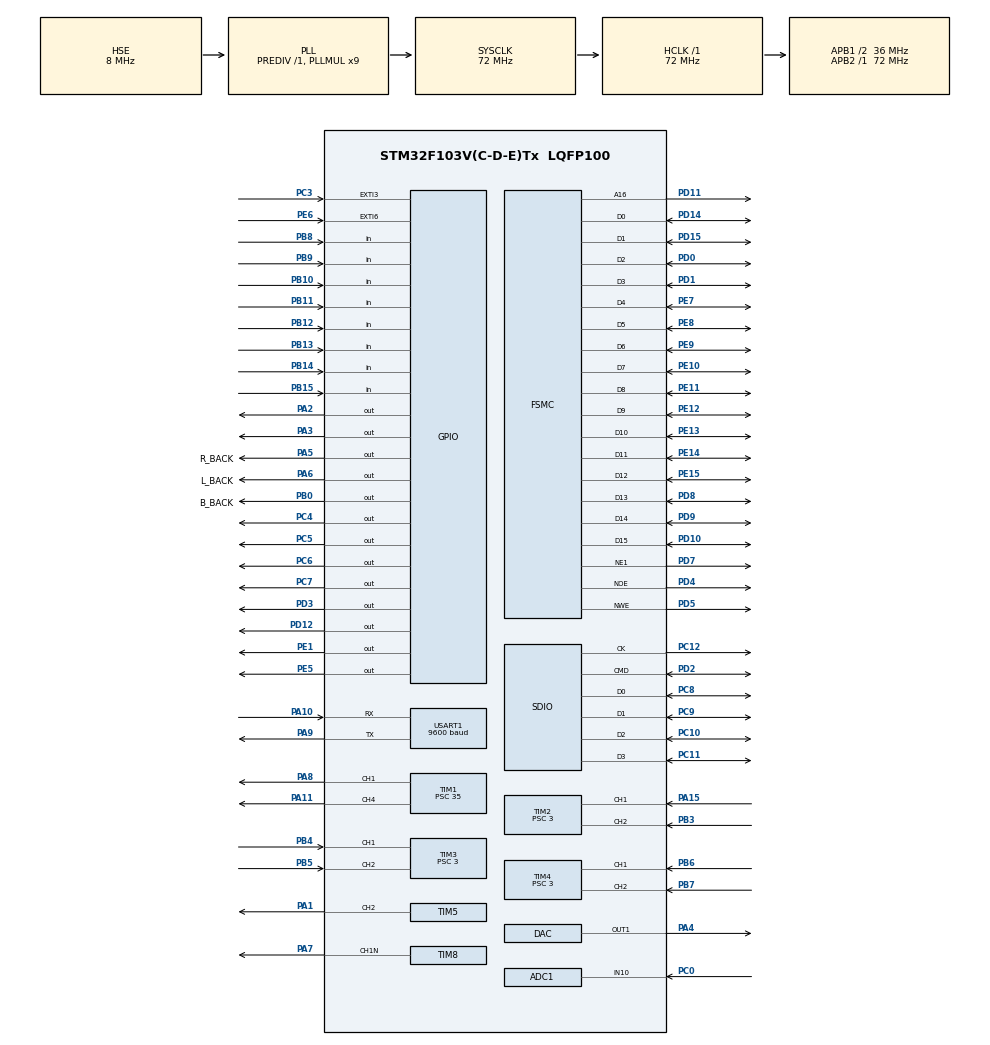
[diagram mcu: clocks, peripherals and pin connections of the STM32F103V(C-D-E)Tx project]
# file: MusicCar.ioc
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ADC1.Channel-4\#ChannelRegularConversion=ADC_CHANNEL_10
ADC1.NbrOfConversionFlag=1
ADC1.Rank-4\#ChannelRegularConversion=1
ADC1.SamplingTime-4\#ChannelRegularConversion=ADC_SAMPLETIME_1CYCLE_5
ADC1.master=1
Dma.Request0=SDIO
Dma.SDIO.0.Direction=DMA_MEMORY_TO_PERIPH
Dma.SDIO.0.Instance=DMA2_Channel4
Dma.SDIO.0.MemDataAlignment=DMA_MDATAALIGN_WORD
Dma.SDIO.0.MemInc=DMA_MINC_ENABLE
Dma.SDIO.0.Mode=DMA_CIRCULAR
Dma.SDIO.0.PeriphDataAlignment=DMA_PDATAALIGN_WORD
Dma.SDIO.0.PeriphInc=DMA_PINC_DISABLE
Dma.SDIO.0.Priority=DMA_PRIORITY_HIGH
FATFS._MAX_SS=4096
FREERTOS.Tasks01=defaultTask,0,128,StartDefaultTask,Default,NULL,Dynamic,NULL,NULL
FREERTOS.configCHECK_FOR_STACK_OVERFLOW=2
FREERTOS.configTOTAL_HEAP_SIZE=40704
FREERTOS.configUSE_MALLOC_FAILED_HOOK=1
Mcu.Family=STM32F1
Mcu.Name=STM32F103V(C-D-E)Tx
Mcu.Package=LQFP100
NVIC.DMA2_Channel4_5_IRQn=true\:6\:0\:true\:false\:true\:true\:false\:true
NVIC.EXTI3_IRQn=true\:5\:0\:true\:false\:true\:true\:true\:true
NVIC.EXTI9_5_IRQn=true\:5\:0\:true\:false\:true\:true\:true\:true
NVIC.PriorityGroup=NVIC_PRIORITYGROUP_4
NVIC.SDIO_IRQn=true\:5\:0\:false\:false\:true\:true\:true\:true
NVIC.TIM2_IRQn=true\:5\:0\:true\:false\:true\:true\:true\:true
NVIC.TIM3_IRQn=true\:5\:0\:false\:false\:true\:true\:true\:true
NVIC.TIM4_IRQn=true\:5\:0\:true\:false\:true\:true\:true\:true
NVIC.TIM6_IRQn=true\:0\:0\:false\:false\:true\:false\:false\:true
NVIC.TIM7_IRQn=true\:5\:0\:false\:false\:true\:true\:true\:true
NVIC.TimeBase=TIM6_IRQn
NVIC.TimeBaseIP=TIM6
NVIC.USART1_IRQn=true\:5\:0\:false\:false\:true\:true\:true\:true
OSC_IN.Mode=HSE-External-Oscillator
OSC_IN.Signal=RCC_OSC_IN
OSC_OUT.Mode=HSE-External-Oscillator
OSC_OUT.Signal=RCC_OSC_OUT
PA1.Signal=S_TIM5_CH2
PA10.Mode=Asynchronous
PA10.Signal=USART1_RX
PA11.Signal=S_TIM1_CH4
PA13.Mode=Serial_Wire
PA13.Signal=SYS_JTMS-SWDIO
PA14.Mode=Serial_Wire
PA14.Signal=SYS_JTCK-SWCLK
PA15.GPIO_PuPd=GPIO_NOPULL
PA15.Signal=S_TIM2_CH1_ETR
PA2.GPIO_Speed=GPIO_SPEED_FREQ_HIGH
PA2.Signal=GPIO_Output
PA3.GPIO_Speed=GPIO_SPEED_FREQ_HIGH
PA3.Signal=GPIO_Output
PA4.Signal=COMP_DAC1_group
PA5.GPIO_Label=R_BACK
PA5.Signal=GPIO_Output
PA6.GPIO_Label=L_BACK
PA6.Signal=GPIO_Output
PA7.Mode=PWM Generation1 CH1N
PA7.Signal=TIM8_CH1N
PA8.Signal=S_TIM1_CH1
PA9.Mode=Asynchronous
PA9.Signal=USART1_TX
PB0.GPIO_Label=B_BACK
PB0.Signal=GPIO_Output
PB10.Signal=GPIO_Input
PB11.Signal=GPIO_Input
PB12.Signal=GPIO_Input
PB13.Signal=GPIO_Input
PB14.Signal=GPIO_Input
PB15.Signal=GPIO_Input
PB3.Signal=S_TIM2_CH2
PB4.GPIO_PuPd=GPIO_NOPULL
PB4.Signal=S_TIM3_CH1
PB5.GPIO_PuPd=GPIO_NOPULL
PB5.Signal=S_TIM3_CH2
PB6.Signal=S_TIM4_CH1
PB7.Signal=S_TIM4_CH2
PB8.Signal=GPIO_Input
PB9.Signal=GPIO_Input
PC0.Signal=ADCx_IN10
PC10.Mode=SD_4_bits_Wide_bus
PC10.Signal=SDIO_D2
PC11.Mode=SD_4_bits_Wide_bus
PC11.Signal=SDIO_D3
PC12.Mode=SD_4_bits_Wide_bus
PC12.Signal=SDIO_CK
PC14-OSC32_IN.Mode=LSE-External-Oscillator
PC14-OSC32_IN.Signal=RCC_OSC32_IN
PC15-OSC32_OUT.Mode=LSE-External-Oscillator
PC15-OSC32_OUT.Signal=RCC_OSC32_OUT
PC3.GPIO_ModeDefaultEXTI=GPIO_MODE_IT_FALLING
PC3.Signal=GPXTI3
PC4.GPIO_Speed=GPIO_SPEED_FREQ_HIGH
PC4.Signal=GPIO_Output
PC5.GPIO_Speed=GPIO_SPEED_FREQ_HIGH
PC5.Signal=GPIO_Output
PC6.GPIO_ModeDefaultOutputPP=GPIO_MODE_OUTPUT_OD
PC6.GPIO_PuPd=GPIO_PULLDOWN
PC6.GPIO_Speed=GPIO_SPEED_FREQ_HIGH
PC6.Signal=GPIO_Output
PC7.GPIO_ModeDefaultOutputPP=GPIO_MODE_OUTPUT_OD
PC7.GPIO_Speed=GPIO_SPEED_FREQ_HIGH
PC7.Signal=GPIO_Output
PC8.Mode=SD_4_bits_Wide_bus
PC8.Signal=SDIO_D0
PC9.Mode=SD_4_bits_Wide_bus
PC9.Signal=SDIO_D1
PD0.Mode=16b-d1
PD0.Signal=FSMC_D2
PD1.Mode=16b-d1
PD1.Signal=FSMC_D3
PD10.Mode=16b-d1
PD10.Signal=FSMC_D15
PD11.Mode=A16_1
PD11.Signal=FSMC_A16
PD12.GPIO_Speed=GPIO_SPEED_FREQ_HIGH
PD12.PinState=GPIO_PIN_RESET
PD12.Signal=GPIO_Output
PD14.Mode=16b-d1
PD14.Signal=FSMC_D0
PD15.Mode=16b-d1
PD15.Signal=FSMC_D1
PD2.Mode=SD_4_bits_Wide_bus
PD2.Signal=SDIO_CMD
PD3.GPIO_Speed=GPIO_SPEED_FREQ_HIGH
PD3.Signal=GPIO_Output
PD4.Mode=Lcd1
PD4.Signal=FSMC_NOE
PD5.Mode=Lcd1
PD5.Signal=FSMC_NWE
PD7.Mode=NorPsramChipSelect1_1
PD7.Signal=FSMC_NE1
PD8.Mode=16b-d1
PD8.Signal=FSMC_D13
PD9.Mode=16b-d1
PD9.Signal=FSMC_D14
PE1.GPIO_Speed=GPIO_SPEED_FREQ_HIGH
PE1.PinState=GPIO_PIN_RESET
PE1.Signal=GPIO_Output
PE10.Mode=16b-d1
PE10.Signal=FSMC_D7
PE11.Mode=16b-d1
PE11.Signal=FSMC_D8
PE12.Mode=16b-d1
PE12.Signal=FSMC_D9
PE13.Mode=16b-d1
PE13.Signal=FSMC_D10
PE14.Mode=16b-d1
PE14.Signal=FSMC_D11
PE15.Mode=16b-d1
PE15.Signal=FSMC_D12
PE5.Signal=GPIO_Output
PE6.GPIO_ModeDefaultEXTI=GPIO_MODE_IT_RISING_FALLING
PE6.Signal=GPXTI6
PE7.Mode=16b-d1
PE7.Signal=FSMC_D4
PE8.Mode=16b-d1
PE8.Signal=FSMC_D5
PE9.Mode=16b-d1
PE9.Signal=FSMC_D6
ProjectManager.HeapSize=0x200
ProjectManager.StackSize=0x400
ProjectManager.TargetToolchain=MDK-ARM V5
RCC.ADCPresc=RCC_ADCPCLK2_DIV6
RCC.AHBFreq_Value=72000000
RCC.APB1CLKDivider=RCC_HCLK_DIV2
RCC.APB1Freq_Value=36000000
RCC.APB1TimFreq_Value=72000000
RCC.APB2Freq_Value=72000000
RCC.APB2TimFreq_Value=72000000
RCC.HCLKFreq_Value=72000000
RCC.PLLMUL=RCC_PLL_MUL9
RCC.PLLSourceVirtual=RCC_PLLSOURCE_HSE
RCC.SYSCLKFreq_VALUE=72000000
RCC.SYSCLKSource=RCC_SYSCLKSOURCE_PLLCLK
RCC.USBFreq_Value=72000000
SDIO.ClockDiv=2
SDIO.HardwareFlowControl=SDIO_HARDWARE_FLOW_CONTROL_ENABLE
SH.ADCx_IN10.0=ADC1_IN10,IN10
SH.COMP_DAC1_group.0=DAC_OUT1,DAC_OUT1
SH.S_TIM1_CH1.0=TIM1_CH1,PWM Generation1 CH1
SH.S_TIM1_CH4.0=TIM1_CH4,PWM Generation4 CH4
SH.S_TIM2_CH1_ETR.0=TIM2_CH1,Encoder_Interface
SH.S_TIM2_CH2.0=TIM2_CH2,Encoder_Interface
SH.S_TIM3_CH1.0=TIM3_CH1,Encoder_Interface
SH.S_TIM3_CH2.0=TIM3_CH2,Encoder_Interface
SH.S_TIM4_CH1.0=TIM4_CH1,Encoder_Interface
SH.S_TIM4_CH2.0=TIM4_CH2,Encoder_Interface
SH.S_TIM5_CH2.0=TIM5_CH2,PWM Generation2 CH2
TIM1.Channel-PWM\ Generation1\ CH1=TIM_CHANNEL_1
TIM1.Channel-PWM\ Generation4\ CH4=TIM_CHANNEL_4
TIM1.Period=0x7fff
TIM1.Prescaler=35
TIM2.EncoderMode=TIM_ENCODERMODE_TI12
TIM2.IC1Filter=15
TIM2.IC1Prescaler=TIM_ICPSC_DIV8
TIM2.IC2Filter=15
TIM2.IC2Prescaler=TIM_ICPSC_DIV8
TIM2.Period=0xffff
TIM2.Prescaler=3
TIM3.EncoderMode=TIM_ENCODERMODE_TI12
TIM3.IC1Filter=15
TIM3.IC1Prescaler=TIM_ICPSC_DIV8
TIM3.IC2Filter=15
TIM3.IC2Prescaler=TIM_ICPSC_DIV8
TIM3.Period=0xffff
TIM3.Prescaler=3
TIM4.EncoderMode=TIM_ENCODERMODE_TI12
TIM4.IC1Filter=15
TIM4.IC1Prescaler=TIM_ICPSC_DIV8
TIM4.IC2Filter=15
TIM4.IC2Prescaler=TIM_ICPSC_DIV8
TIM4.Period=0xffff
TIM4.Prescaler=3
TIM5.Channel-PWM\ Generation2\ CH2=TIM_CHANNEL_2
TIM5.Period=0x7fff
TIM5.Prescaler=35
TIM7.Period=1632
TIM8.Channel-PWM\ Generation1\ CH1N=TIM_CHANNEL_1
TIM8.Period=20000
TIM8.Prescaler=71
USART1.BaudRate=9600
USART1.VirtualMode=VM_ASYNC
VP_FATFS_VS_SDIO.Mode=SDIO
VP_FREERTOS_VS_CMSIS_V1.Mode=CMSIS_V1
VP_SYS_VS_tim6.Mode=TIM6
VP_TIM7_VS_ClockSourceINT.Mode=Enable_Timer
board=custom

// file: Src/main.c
/* USER CODE BEGIN Header */
/**
  ******************************************************************************
  * @file           : main.c
  * @brief          : Main program body
  ******************************************************************************
  * @attention
  *
  * <h2><center>&copy; Copyright (c) 2019 STMicroelectronics.
  * All rights reserved.</center></h2>
  *
  * This software component is licensed by ST under Ultimate Liberty license
  * SLA0044, the "License"; You may not use this file except in compliance with
  * the License. You may obtain a copy of the License at:
  *                             www.st.com/SLA0044
  *
  ******************************************************************************
  */
/* USER CODE END Header */

#include "main.h"
#include "cmsis_os.h"
#include "adc.h"
#include "dac.h"
#include "dma.h"
#include "fatfs.h"
#include "sdio.h"
#include "tim.h"
#include "usart.h"
#include "gpio.h"
#include "fsmc.h"

/* USER CODE BEGIN Includes */
#include "lcd.h"
#include "fatfs.h"
#include "bsp_ov7725.h"
#include "bsp_sccb.h"
/* USER CODE END Includes */

/* USER CODE BEGIN PD */
uint8_t us_flag;
uint16_t us_dst;
extern uint8_t Ov7725_vsync;
char rcv_char;
/* USER CODE END PD */

void SystemClock_Config(void);
void MX_FREERTOS_Init(void);

int main(void)
{

  /* MCU Configuration--------------------------------------------------------*/

  /* Reset of all peripherals, Initializes the Flash interface and the Systick. */
  HAL_Init();

  /* Configure the system clock */
  SystemClock_Config();

  /* Initialize all configured peripherals */
  MX_GPIO_Init();
  MX_FSMC_Init();
  MX_SDIO_SD_Init();
  MX_TIM1_Init();
  MX_TIM3_Init();
  MX_ADC1_Init();
  MX_DAC_Init();
  MX_TIM4_Init();
  MX_TIM5_Init();
  MX_TIM2_Init();
  MX_TIM8_Init();
  MX_DMA_Init();
  MX_USART1_UART_Init();
  MX_TIM7_Init();
  /* USER CODE BEGIN 2 */
  LCD_INIT();
	HAL_Delay(1000);
  while(Ov7725_Init() != SUCCESS);
	Ov7725_vsync = 0;
  /* USER CODE END 2 */

  /* Call init function for freertos objects (in freertos.c) */
  MX_FREERTOS_Init();

  /* Start scheduler */
  osKernelStart();

  /* We should never get here as control is now taken by the scheduler */

  /* Infinite loop */
  while (1)
  {

  }
}

void SystemClock_Config(void)
{
  RCC_OscInitTypeDef RCC_OscInitStruct = {0};
  RCC_ClkInitTypeDef RCC_ClkInitStruct = {0};
  RCC_PeriphCLKInitTypeDef PeriphClkInit = {0};

  /** Initializes the CPU, AHB and APB busses clocks
  */
  RCC_OscInitStruct.OscillatorType = RCC_OSCILLATORTYPE_HSE;
  RCC_OscInitStruct.HSEState = RCC_HSE_ON;
  RCC_OscInitStruct.HSEPredivValue = RCC_HSE_PREDIV_DIV1;
  RCC_OscInitStruct.HSIState = RCC_HSI_ON;
  RCC_OscInitStruct.PLL.PLLState = RCC_PLL_ON;
  RCC_OscInitStruct.PLL.PLLSource = RCC_PLLSOURCE_HSE;
  RCC_OscInitStruct.PLL.PLLMUL = RCC_PLL_MUL9;
  if (HAL_RCC_OscConfig(&RCC_OscInitStruct) != HAL_OK)
  {
    Error_Handler();
  }
  /** Initializes the CPU, AHB and APB busses clocks
  */
  RCC_ClkInitStruct.ClockType = RCC_CLOCKTYPE_HCLK|RCC_CLOCKTYPE_SYSCLK
                              |RCC_CLOCKTYPE_PCLK1|RCC_CLOCKTYPE_PCLK2;
  RCC_ClkInitStruct.SYSCLKSource = RCC_SYSCLKSOURCE_PLLCLK;
  RCC_ClkInitStruct.AHBCLKDivider = RCC_SYSCLK_DIV1;
  RCC_ClkInitStruct.APB1CLKDivider = RCC_HCLK_DIV2;
  RCC_ClkInitStruct.APB2CLKDivider = RCC_HCLK_DIV1;

  if (HAL_RCC_ClockConfig(&RCC_ClkInitStruct, FLASH_LATENCY_2) != HAL_OK)
  {
    Error_Handler();
  }
  PeriphClkInit.PeriphClockSelection = RCC_PERIPHCLK_ADC;
  PeriphClkInit.AdcClockSelection = RCC_ADCPCLK2_DIV6;
  if (HAL_RCCEx_PeriphCLKConfig(&PeriphClkInit) != HAL_OK)
  {
    Error_Handler();
  }
}

void HAL_TIM_PeriodElapsedCallback(TIM_HandleTypeDef *htim)
{
  if (htim->Instance == TIM6) {
    HAL_IncTick();
  }
}

void Error_Handler(void)
{
}

/************************ (C) COPYRIGHT STMicroelectronics *****END OF FILE****/

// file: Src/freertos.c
/* USER CODE BEGIN Header */
/**
  ******************************************************************************
  * File Name          : freertos.c
  * Description        : Code for freertos applications
  ******************************************************************************
  * @attention
  *
  * <h2><center>&copy; Copyright (c) 2019 STMicroelectronics.
  * All rights reserved.</center></h2>
  *
  * This software component is licensed by ST under Ultimate Liberty license
  * SLA0044, the "License"; You may not use this file except in compliance with
  * the License. You may obtain a copy of the License at:
  *                             www.st.com/SLA0044
  *
  ******************************************************************************
  */
/* USER CODE END Header */

#include "FreeRTOS.h"
#include "task.h"
#include "main.h"
#include "cmsis_os.h"

/* USER CODE BEGIN Includes */
#include "lcd.h"
#include "usart.h"
#include "bsp_ov7725.h"
#include "bsp_sccb.h"
// for OpenOCD to debug with FreeRTOS
#ifdef __GNUC__
#define USED __attribute__((used))
#else
#define USED
#endif

const int USED uxTopUsedPriority = configMAX_PRIORITIES - 1;
/* USER CODE END Includes */

/* USER CODE BEGIN PD */
extern uint8_t us_flag;
extern uint16_t us_dst;

/* USER CODE END PD */

/* USER CODE BEGIN Variables */
osThreadId motorTaskHandle;
osThreadId cameraTaskHandle;
osThreadId sdCardTaskHandle;

uint8_t rv,gv,bv;
/* USER CODE END Variables */
osThreadId defaultTaskHandle;

/* USER CODE BEGIN FunctionPrototypes */
void StartCameraTask(void const * argument);
void StartMotorTask(void const * argument);
void StartSDCardTask(void const * argument);
/* USER CODE END FunctionPrototypes */

void StartDefaultTask(void const * argument);

extern void MX_FATFS_Init(void);
void MX_FREERTOS_Init(void); /* (MISRA C 2004 rule 8.1) */

/* GetIdleTaskMemory prototype (linked to static allocation support) */
void vApplicationGetIdleTaskMemory( StaticTask_t **ppxIdleTaskTCBBuffer, StackType_t **ppxIdleTaskStackBuffer, uint32_t *pulIdleTaskStackSize );

/* Hook prototypes */
void vApplicationStackOverflowHook(xTaskHandle xTask, signed char *pcTaskName);
void vApplicationMallocFailedHook(void);

/* USER CODE BEGIN 4 */
__weak void vApplicationStackOverflowHook(xTaskHandle xTask, signed char *pcTaskName)
{
   /* Run time stack overflow checking is performed if
   configCHECK_FOR_STACK_OVERFLOW is defined to 1 or 2. This hook function is
   called if a stack overflow is detected. */
}
/* USER CODE END 4 */

/* USER CODE BEGIN 5 */
__weak void vApplicationMallocFailedHook(void)
{
   /* vApplicationMallocFailedHook() will only be called if
   configUSE_MALLOC_FAILED_HOOK is set to 1 in FreeRTOSConfig.h. It is a hook
   function that will get called if a call to pvPortMalloc() fails.
   pvPortMalloc() is called internally by the kernel whenever a task, queue,
   timer or semaphore is created. It is also called by various parts of the
   demo application. If heap_1.c or heap_2.c are used, then the size of the
   heap available to pvPortMalloc() is defined by configTOTAL_HEAP_SIZE in
   FreeRTOSConfig.h, and the xPortGetFreeHeapSize() API function can be used
   to query the size of free heap space that remains (although it does not
   provide information on how the remaining heap might be fragmented). */
}
/* USER CODE END 5 */

/* USER CODE BEGIN GET_IDLE_TASK_MEMORY */
static StaticTask_t xIdleTaskTCBBuffer;
static StackType_t xIdleStack[configMINIMAL_STACK_SIZE];

void vApplicationGetIdleTaskMemory( StaticTask_t **ppxIdleTaskTCBBuffer, StackType_t **ppxIdleTaskStackBuffer, uint32_t *pulIdleTaskStackSize )
{
  *ppxIdleTaskTCBBuffer = &xIdleTaskTCBBuffer;
  *ppxIdleTaskStackBuffer = &xIdleStack[0];
  *pulIdleTaskStackSize = configMINIMAL_STACK_SIZE;
  /* place for user code */
}
/* USER CODE END GET_IDLE_TASK_MEMORY */

void MX_FREERTOS_Init(void) {

  /* Create the thread(s) */
  /* definition and creation of defaultTask */
  osThreadDef(defaultTask, StartDefaultTask, osPriorityNormal, 0, 128);
  defaultTaskHandle = osThreadCreate(osThread(defaultTask), NULL);

  /* USER CODE BEGIN RTOS_THREADS */
  /* add threads, ... */
  osThreadDef(sdCardTask, StartSDCardTask, osPriorityNormal+2, 0, 5120);
  sdCardTaskHandle = osThreadCreate(osThread(sdCardTask), NULL);

  osThreadDef(cameraTask, StartCameraTask, osPriorityNormal+3, 0, 1024);
  cameraTaskHandle = osThreadCreate(osThread(cameraTask), NULL);

  osThreadDef(motorTask, StartMotorTask, osPriorityNormal+1, 0, 256);
  motorTaskHandle = osThreadCreate(osThread(motorTask), NULL);

  /* USER CODE END RTOS_THREADS */

}

void StartDefaultTask(void const * argument)
{
  /* init code for FATFS */
  MX_FATFS_Init();
  /* USER CODE BEGIN StartDefaultTask */

  rv = 0x1f>>1;
  gv = 0x3f;
  bv = 0x1f;
  char str[20];
  /* Infinite loop */
  for(;;)
  {
    HAL_GPIO_WritePin(GPIOE, GPIO_PIN_5, 1);
    osDelay(1);
    HAL_GPIO_WritePin(GPIOE, GPIO_PIN_5, 0);
    us_flag = 1;
    sprintf(str, "Distance : %d ", us_dst);
    LCD_DrawString(10,300, str);

    rv = (rv+1) & (0x1f);
    gv = (gv-3) & (0x3f);
    bv = (bv+2) & (0x1f);
    // LCD_Clear(200,300,10,10,RED);
    LCD_Clear(220,300,10,10,(rv<<11)|(gv<<6)|bv);
    osDelay(49);
    // LCD_Clear(200,300,10,10,WHITE);
    // osDelay(50);
  }
  /* USER CODE END StartDefaultTask */
}

/************************ (C) COPYRIGHT STMicroelectronics *****END OF FILE****/
